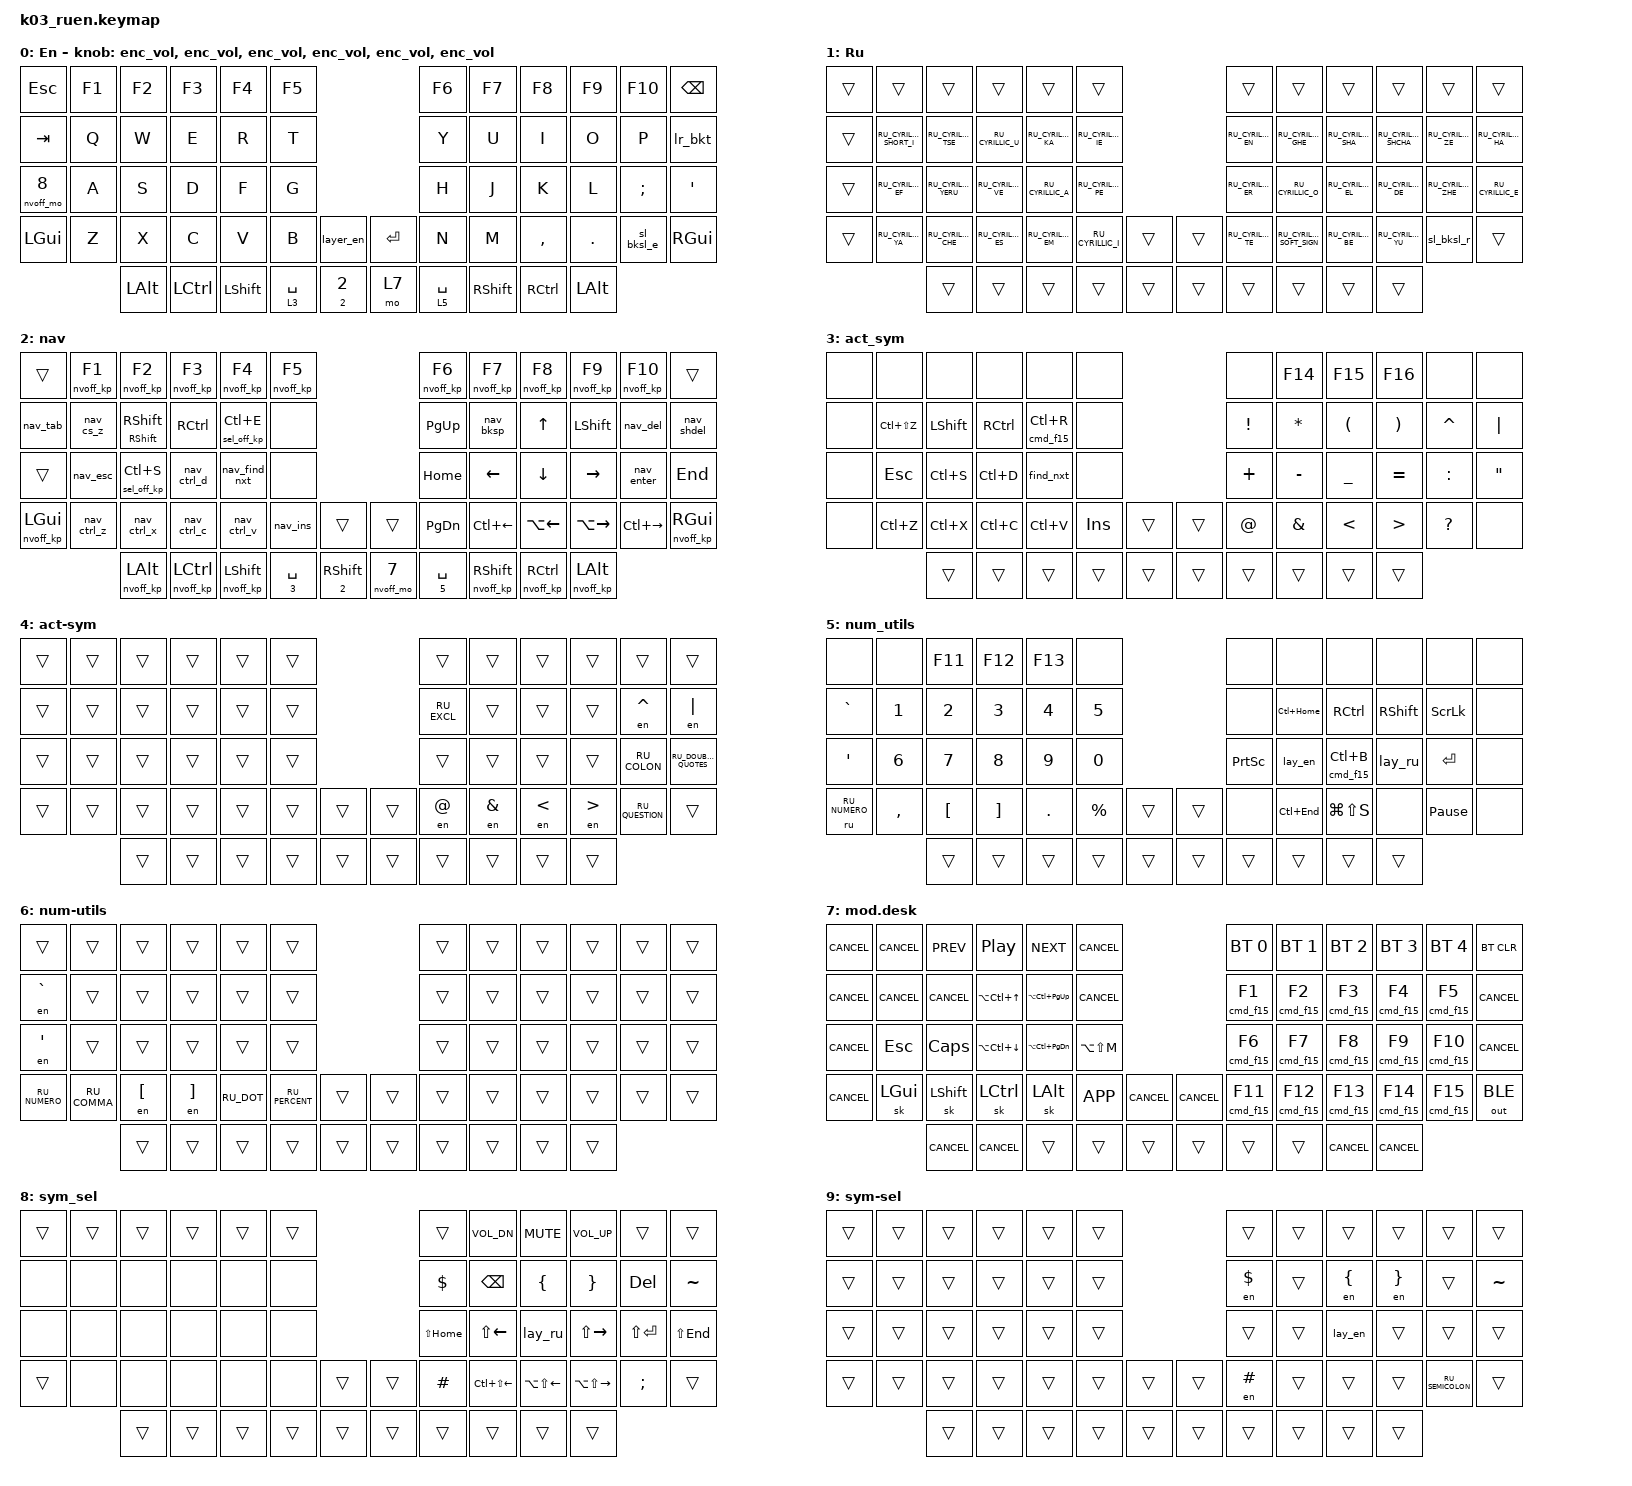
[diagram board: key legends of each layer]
#include "keys_ru.h"
#include <behaviors.dtsi>
#include <dt-bindings/zmk/bt.h>
#include <dt-bindings/zmk/keys.h>
#include <dt-bindings/zmk/outputs.h>

/ {
    combos {
        compatible = "zmk,combos";

        cmb_ru_io {
            bindings = <&kp RU_CYRILLIC_IO>;
            key-positions = <15 16>;
            layers = <1>;
        };

        cmb_ru_hs {
            bindings = <&kp RU_CYRILLIC_HARD_SIGN>;
            key-positions = <20 19>;
            layers = <1>;
        };

        cmb_dot_ru {
            bindings = <&kp RU_DOT>;
            key-positions = <46 47>;
            layers = <1>;
        };

        cmb_dot_en {
            bindings = <&kp DOT>;
            key-positions = <46 47>;
            layers = <0>;
        };
    };

    macros {
        layer_en: layer_en {
            compatible = "zmk,behavior-macro";
            #binding-cells = <0>;
            bindings = <&to 0>, <&macro_tap>, <&kp LS(LC(N1))>;

            wait-ms = <0>;
            tap-ms = <50>;
            label = "LAYER_EN";
        };

        layer_ru: layer_ru {
            compatible = "zmk,behavior-macro";
            #binding-cells = <0>;
            bindings = <&to 1>, <&macro_tap>, <&kp LS(LC(N2))>;

            wait-ms = <0>;
            tap-ms = <50>;
            label = "LAYER_RU";
        };

        lay_en: lay_en {
            compatible = "zmk,behavior-macro";
            #binding-cells = <0>;
            bindings = <&off 1>, <&macro_tap>, <&kp LS(LC(N1))>;

            wait-ms = <0>;
            tap-ms = <38>;
        };

        lay_ru: lay_ru {
            compatible = "zmk,behavior-macro";
            #binding-cells = <0>;
            bindings = <&on 1>, <&macro_tap>, <&kp LS(LC(N2))>;

            wait-ms = <0>;
            tap-ms = <38>;
        };

        en: en {
            compatible = "zmk,behavior-macro-one-param";
            #binding-cells = <1>;
            bindings =
                <&macro_tap>,
                <&kp LS(LC(N1))>,
                <&macro_press>,
                <&macro_param_1to1 &kp MACRO_PLACEHOLDER>,
                <&macro_pause_for_release>,
                <&macro_wait_time 0>,
                <&macro_release>,
                <&macro_param_1to1 &kp MACRO_PLACEHOLDER>,
                <&macro_tap_time 23>,
                <&macro_tap>,
                <&kp LS(LC(N2))>;

            wait-ms = <0>;
            tap-ms = <23>;
        };

        ru: ru {
            compatible = "zmk,behavior-macro-one-param";
            #binding-cells = <1>;
            bindings =
                <&macro_tap>,
                <&kp LS(LC(N2))>,
                <&macro_press>,
                <&macro_param_1to1 &kp MACRO_PLACEHOLDER>,
                <&macro_pause_for_release>,
                <&macro_wait_time 0>,
                <&macro_release>,
                <&macro_param_1to1 &kp MACRO_PLACEHOLDER>,
                <&macro_tap_time 30>,
                <&macro_tap>,
                <&kp LS(LC(N1))>;

            wait-ms = <0>;
            tap-ms = <30>;
        };

        key: key {
            compatible = "zmk,behavior-macro-one-param";
            #binding-cells = <1>;
            bindings = <&macro_tap>, <&macro_param_1to1 &kp MACRO_PLACEHOLDER>;

            wait-ms = <0>;
            tap-ms = <30>;
        };

        cmd_f15: cmd_f15 {
            compatible = "zmk,behavior-macro-one-param";
            #binding-cells = <1>;
            bindings =
                <&macro_press>,
                <&kp LEFT_CONTROL>,
                <&macro_tap>,
                <&kp F15>,
                <&macro_tap>,
                <&macro_param_1to1 &kp MACRO_PLACEHOLDER>,
                <&macro_release>,
                <&kp LEFT_CONTROL>;

            wait-ms = <0>;
            tap-ms = <30>;
        };

        kp_on_off: kp_on_off {
            compatible = "zmk,behavior-macro-one-param";
            #binding-cells = <1>;
            bindings =
                <&macro_param_1to1 &kt_off MACRO_PLACEHOLDER &macro_param_1to1 &kt_on MACRO_PLACEHOLDER>,
                <&macro_pause_for_release>,
                <&macro_wait_time 0>,
                <&macro_press>,
                <&macro_param_1to1 &kt_off MACRO_PLACEHOLDER>;

            label = "KP_ON_OFF";
            wait-ms = <0>;
            tap-ms = <0>;
        };

        sel_off_kp: sel_off_kp {
            compatible = "zmk,behavior-macro-one-param";
            #binding-cells = <1>;
            bindings =
                <&kt_off RSHFT &macro_param_1to1 &kp MACRO_PLACEHOLDER>,
                <&macro_pause_for_release>,
                <&macro_wait_time 0>,
                <&macro_release>,
                <&macro_param_1to1 &kp MACRO_PLACEHOLDER>;

            label = "SEL_OFF_KP";
            wait-ms = <0>;
            tap-ms = <0>;
        };

        sel_off_cmd_f15: sel_off_cmd_f15 {
            compatible = "zmk,behavior-macro-one-param";
            #binding-cells = <1>;
            bindings =
                <&kt_off RSHFT>,
                <&macro_press>,
                <&kp LEFT_CONTROL>,
                <&macro_tap>,
                <&kp F15>,
                <&macro_tap>,
                <&macro_param_1to1 &kp MACRO_PLACEHOLDER>,
                <&macro_release>,
                <&kp LEFT_CONTROL>;

            wait-ms = <0>;
            tap-ms = <30>;
            label = "SEL_OFF_CMD_F15";
        };

        nv_off: nv_off {
            compatible = "zmk,behavior-macro";
            #binding-cells = <0>;
            bindings = <&macro_press>, <&off 2 &kt_off RSHFT>;

            label = "NV_OFF";
            wait-ms = <0>;
            tap-ms = <0>;
        };

        nvoff_kp: nvoff_kp {
            compatible = "zmk,behavior-macro-one-param";
            #binding-cells = <1>;
            bindings =
                <&macro_press>,
                <&off 2 &kt_off RSHFT &macro_param_1to1 &kp MACRO_PLACEHOLDER>,
                <&macro_pause_for_release>,
                <&macro_wait_time 0>,
                <&macro_release>,
                <&macro_param_1to1 &kp MACRO_PLACEHOLDER>;

            label = "NVOFF_KP";
            wait-ms = <0>;
            tap-ms = <0>;
        };

        nvoff_sk: nvoff_sk {
            compatible = "zmk,behavior-macro-one-param";
            #binding-cells = <1>;
            bindings =
                <&macro_press>,
                <&off 2 &kt_off RSHFT &macro_param_1to1 &sk_e MACRO_PLACEHOLDER>,
                <&macro_pause_for_release>,
                <&macro_wait_time 0>,
                <&macro_release>,
                <&macro_param_1to1 &sk_e MACRO_PLACEHOLDER>;

            label = "NVOFF_SK";
            wait-ms = <0>;
            tap-ms = <0>;
        };

        nvoff_mo: nvoff_mo {
            compatible = "zmk,behavior-macro-one-param";
            #binding-cells = <1>;
            bindings =
                <&macro_press>,
                <&off 2 &kt_off RSHFT &macro_param_1to1 &on MACRO_PLACEHOLDER>,
                <&macro_pause_for_release>,
                <&macro_wait_time 0>,
                <&macro_press>,
                <&macro_param_1to1 &off MACRO_PLACEHOLDER>;

            label = "NVOFF_MO";
            wait-ms = <0>;
            tap-ms = <0>;
        };

        nvoff_sl: nvoff_sl {
            compatible = "zmk,behavior-macro-one-param";
            #binding-cells = <1>;
            bindings =
                <&macro_press>,
                <&off 2 &kt_off RSHFT &macro_param_1to1 &sl_e MACRO_PLACEHOLDER>,
                <&macro_pause_for_release>,
                <&macro_wait_time 0>,
                <&macro_release>,
                <&macro_param_1to1 &sl_e MACRO_PLACEHOLDER>;

            label = "NVOFF_SL";
            wait-ms = <0>;
            tap-ms = <0>;
        };

        mo_nv_off: mo_nv_off {
            compatible = "zmk,behavior-macro-one-param";
            #binding-cells = <1>;
            bindings =
                <&macro_tap>,
                <&macro_param_1to1 &on MACRO_PLACEHOLDER>,
                <&macro_pause_for_release>,
                <&macro_wait_time 0>,
                <&macro_tap_time 0>,
                <&macro_tap>,
                <&macro_param_1to1 &off MACRO_PLACEHOLDER &off 2 &kt_off RSHFT>;

            label = "MO_NV_OFF";
            wait-ms = <0>;
            tap-ms = <0>;
        };

        nvon_kp: nvon_kp {
            compatible = "zmk,behavior-macro-one-param";
            #binding-cells = <1>;
            bindings =
                <&macro_press>,
                <&on 2 &macro_param_1to1 &kp MACRO_PLACEHOLDER>,
                <&macro_pause_for_release>,
                <&macro_release>,
                <&macro_param_1to1 &kp MACRO_PLACEHOLDER>;

            label = "NV_ON_KP";
            wait-ms = <0>;
            tap-ms = <0>;
        };

        nvsel_on: nvsel_on {
            compatible = "zmk,behavior-macro-one-param";
            #binding-cells = <1>;
            bindings =
                <&macro_press>,
                <&macro_param_1to1 &kt_off MACRO_PLACEHOLDER &macro_param_1to1 &kt_on MACRO_PLACEHOLDER &on 2>;

            label = "NVSEL_ON";
            wait-ms = <0>;
            tap-ms = <0>;
        };

        nvsel_mo: nvsel_mo {
            compatible = "zmk,behavior-macro";
            #binding-cells = <0>;
            bindings =
                <&macro_press>,
                <&on 2 &off 7 &kt_on RSHFT>,
                <&macro_pause_for_release>,
                <&macro_wait_time 0>,
                <&macro_press>,
                <&kt_off RSHFT &off 2>;

            label = "NVSEL_MO";
            wait-ms = <0>;
            tap-ms = <0>;
        };

        slof_nvsel_mo_rs: slof_nvsel_mo_rs {
            compatible = "zmk,behavior-macro-one-param";
            #binding-cells = <1>;
            bindings =
                <&macro_tap>,
                <&kp K_CANCEL>,
                <&macro_press>,
                <&macro_param_1to1 &on MACRO_PLACEHOLDER &kt_on RSHFT>,
                <&macro_pause_for_release>,
                <&macro_wait_time 0>,
                <&macro_param_1to1 &off MACRO_PLACEHOLDER &kt_off RSHFT>;

            label = "SLOF_NVSEL_MO_RS";
            wait-ms = <0>;
            tap-ms = <0>;
        };

        slof_nv_mo: slof_nv_mo {
            compatible = "zmk,behavior-macro-one-param";
            #binding-cells = <1>;
            bindings =
                <&macro_tap>,
                <&kp K_CANCEL>,
                <&macro_press>,
                <&macro_param_1to1 &on MACRO_PLACEHOLDER>,
                <&macro_pause_for_release>,
                <&macro_wait_time 0>,
                <&macro_press>,
                <&macro_param_1to1 &off MACRO_PLACEHOLDER &kt_off RSHFT>;

            label = "SLOF_NV_MO";
            wait-ms = <0>;
            tap-ms = <0>;
        };

        slof_nvon: slof_nvon {
            compatible = "zmk,behavior-macro-one-param";
            #binding-cells = <1>;
            bindings =
                <&macro_tap>,
                <&kp K_CANCEL>,
                <&macro_press>,
                <&macro_param_1to1 &on MACRO_PLACEHOLDER>;

            label = "SLOF_NVON";
            wait-ms = <0>;
            tap-ms = <0>;
        };

        slof_nvsel_mo: slof_nvsel_mo {
            compatible = "zmk,behavior-macro";
            #binding-cells = <0>;
            bindings =
                <&macro_tap>,
                <&kp K_CANCEL &on 2>,
                <&macro_press>,
                <&kp LSHFT>,
                <&macro_pause_for_release>,
                <&macro_wait_time 0>,
                <&off 2>,
                <&macro_release>,
                <&kp LSHFT>;

            label = "SLOF_NVSEL_MO";
            wait-ms = <0>;
            tap-ms = <0>;
        };

        mo_nv: mo_nv {
            compatible = "zmk,behavior-macro-one-param";
            #binding-cells = <1>;
            bindings =
                <&macro_tap>,
                <&macro_param_1to1 &on MACRO_PLACEHOLDER>,
                <&macro_pause_for_release>,
                <&macro_wait_time 0>,
                <&macro_tap_time 0>,
                <&macro_tap>,
                <&macro_param_1to1 &off MACRO_PLACEHOLDER &kt_off RSHFT>;

            label = "MO_NV";
            wait-ms = <0>;
            tap-ms = <0>;
        };

        on_nv: kp_nv {
            compatible = "zmk,behavior-macro-one-param";
            #binding-cells = <1>;
            bindings =
                <&macro_tap>,
                <&kp K_CANCEL &off 3 &macro_param_1to1 &on MACRO_PLACEHOLDER>;

            label = "KP_NV";
        };

        sl_nv_off: sl_nv_off {
            compatible = "zmk,behavior-macro-one-param";
            #binding-cells = <1>;
            bindings =
                <&macro_press>,
                <&macro_param_1to1 &sl_e MACRO_PLACEHOLDER>,
                <&macro_pause_for_release>,
                <&macro_wait_time 0>,
                <&macro_tap_time 0>,
                <&macro_release>,
                <&macro_param_1to1 &sl_e MACRO_PLACEHOLDER>,
                <&macro_tap>,
                <&kt_off RSHFT>;

            label = "SL_NV_OFF";
            wait-ms = <0>;
            tap-ms = <0>;
        };
    };

    behaviors {
        enc_vol: enc_vol {
            compatible = "zmk,behavior-sensor-rotate";
            #sensor-binding-cells = <0>;
            bindings = <&kp C_VOL_UP>, <&kp C_VOL_DN>;
        };

        on: on {
            compatible = "zmk,behavior-toggle-layer";
            #binding-cells = <1>;
            toggle-mode = "on";
        };

        off: off {
            compatible = "zmk,behavior-toggle-layer";
            #binding-cells = <1>;
            toggle-mode = "off";
        };

        kt_on: kt_on {
            compatible = "zmk,behavior-key-toggle";
            label = "KT_ON";
            #binding-cells = <1>;
            toggle-mode = "on";
        };

        kt_off: kt_off {
            compatible = "zmk,behavior-key-toggle";
            label = "KT_OFF";
            #binding-cells = <1>;
            toggle-mode = "off";
        };

        kt_flip: kt_flip {
            compatible = "zmk,behavior-key-toggle";
            label = "KT_FLIP";
            #binding-cells = <1>;
            toggle-mode = "flip";
        };

        ltk: ltk {
            compatible = "zmk,behavior-hold-tap";
            bindings = <&mo>, <&key>;

            #binding-cells = <2>;
            tapping-term-ms = <235>;
            flavor = "hold-preferred";
        };

        kp_sk: kp_sk {
            compatible = "zmk,behavior-hold-tap";
            bindings = <&kp>, <&sk>;

            #binding-cells = <2>;
            tapping-term-ms = <275>;
            flavor = "hold-preferred";
            label = "KP_SK";
            hold-while-undecided;
            hold-while-undecided-linger;
        };

        kp_kttgl: kp_kttgl {
            compatible = "zmk,behavior-hold-tap";
            bindings = <&kp_on_off>, <&kt_flip>;

            #binding-cells = <2>;
            tapping-term-ms = <275>;
            flavor = "tap-preferred";
            label = "KP_KTTGL";
        };

        mo_sl: mo_sl {
            compatible = "zmk,behavior-hold-tap";
            bindings = <&mo>, <&sl>;

            #binding-cells = <2>;
            tapping-term-ms = <235>;
            label = "MO_SL";
        };

        lr_bkt: lr_bkt {
            compatible = "zmk,behavior-mod-morph";
            label = "LR_BKT";
            bindings = <&kp LEFT_BRACKET>, <&kp RIGHT_BRACKET>;

            #binding-cells = <0>;
            mods = <(MOD_LSFT|MOD_RSFT)>;
        };

        sl_bksl_e: sl_bksl_e {
            compatible = "zmk,behavior-mod-morph";
            label = "SL_BKSL_E";
            bindings = <&kp SLASH>, <&kp BACKSLASH>;

            #binding-cells = <0>;
            mods = <(MOD_LSFT|MOD_RSFT)>;
        };

        sl_bksl_r: sl_bksl_r {
            compatible = "zmk,behavior-mod-morph";
            label = "SL_BKSL_R";
            bindings = <&sl_mod>, <&kp RU_BACKSLASH>;

            #binding-cells = <0>;
            mods = <(MOD_LSFT|MOD_RSFT)>;
        };

        find_nxt: find_nxt {
            compatible = "zmk,behavior-mod-morph";
            label = "FIND_NXT";
            bindings = <&cmd_f15 F>, <&cmd_f15 LS(F)>;

            #binding-cells = <0>;
            mods = <(MOD_RSFT)>;
        };

        nav_tab: nav_tab {
            compatible = "zmk,behavior-mod-morph";
            label = "NAV_TAB";
            bindings = <&kp TAB>, <&sel_off_kp TAB>;

            #binding-cells = <0>;
            mods = <(MOD_RSFT)>;
            keep-mods = <(MOD_LCTL|MOD_LALT|MOD_LGUI|MOD_RCTL|MOD_RALT|MOD_RGUI|MOD_LSFT)>;
        };

        nav_bksp: nav_bksp {
            compatible = "zmk,behavior-mod-morph";
            label = "NAV_BKSP";
            bindings = <&nv_bksp>, <&sel_off_kp BACKSPACE>;

            #binding-cells = <0>;
            mods = <(MOD_RSFT)>;
            keep-mods = <(MOD_LCTL|MOD_LALT|MOD_LGUI|MOD_RCTL|MOD_RALT|MOD_RGUI)>;
        };

        nvsel_nvoff: nvsel_nvoff {
            compatible = "zmk,behavior-hold-tap";
            label = "NVSEL_NVOFF";
            bindings = <&nvsel_mo>, <&nv_off>;

            #binding-cells = <2>;
            flavor = "balanced";
            tapping-term-ms = <235>;
            hold-trigger-key-positions = <6 7 8 9 10 11 18 19 20 21 22 23 30 31 32 33 34 35 44 45 46 47 48 49 56 57 58 59 43 55>;
        };

        nav_esc: nav_esc {
            compatible = "zmk,behavior-mod-morph";
            label = "NAV_ESC";
            bindings = <&kp ESC>, <&sel_off_kp ESC>;

            #binding-cells = <0>;
            mods = <(MOD_RSFT)>;
            keep-mods = <(MOD_LCTL|MOD_LALT|MOD_LGUI|MOD_RSFT|MOD_RCTL|MOD_RALT|MOD_RGUI)>;
        };

        nav_enter: nav_enter {
            compatible = "zmk,behavior-mod-morph";
            label = "NAV_ENTER";
            bindings = <&kp ENTER>, <&sel_off_kp ENTER>;

            #binding-cells = <0>;
            mods = <(MOD_RSFT)>;
            keep-mods = <(MOD_LCTL|MOD_LALT|MOD_LGUI|MOD_RSFT|MOD_RCTL|MOD_RALT|MOD_RGUI)>;
        };

        nav_ctrl_z: nav_ctrl_z {
            compatible = "zmk,behavior-mod-morph";
            label = "NAV_CTRL_Z";
            bindings = <&kp LC(Z)>, <&sel_off_kp LC(Z)>;

            #binding-cells = <0>;
            mods = <(MOD_RSFT)>;
            keep-mods = <(MOD_RSFT)>;
        };

        nav_ctrl_x: nav_ctrl_x {
            compatible = "zmk,behavior-mod-morph";
            label = "NAV_CTRL_X";
            bindings = <&sel_off_kp LC(X)>, <&sel_off_kp LA(X)>;

            #binding-cells = <0>;
            mods = <(MOD_LALT|MOD_RALT)>;
            keep-mods = <(MOD_RSFT)>;
        };

        nav_ctrl_c: nav_ctrl_c {
            compatible = "zmk,behavior-mod-morph";
            label = "NAV_CTRL_C";
            bindings = <&sel_off_kp LC(C)>, <&sel_off_kp LA(C)>;

            #binding-cells = <0>;
            mods = <(MOD_RALT|MOD_LALT)>;
            keep-mods = <(MOD_RSFT)>;
        };

        nav_ctrl_v: nav_ctrl_v {
            compatible = "zmk,behavior-mod-morph";
            label = "NAV_CTRL_V";
            bindings = <&sel_off_kp LC(V)>, <&sel_off_kp LA(V)>;

            #binding-cells = <0>;
            mods = <(MOD_RALT|MOD_LALT)>;
            keep-mods = <(MOD_RSFT)>;
        };

        nav_ctrl_d: nav_ctrl_d {
            compatible = "zmk,behavior-mod-morph";
            label = "NAV_CTRL_D";
            bindings = <&kp LC(D)>, <&sel_off_kp LC(D)>;

            #binding-cells = <0>;
            mods = <(MOD_RSFT)>;
            keep-mods = <(MOD_LSFT)>;
        };

        nav_ctrl_s: nav_ctrl_s {
            compatible = "zmk,behavior-mod-morph";
            label = "NAV_CTRL_S";
            bindings = <&sel_off_kp LC(S)>, <&sel_off_kp LC(S)>;

            #binding-cells = <0>;
            mods = <(MOD_RSFT)>;
        };

        nav_del: nav_del {
            compatible = "zmk,behavior-mod-morph";
            label = "NAV_DEL";
            bindings = <&nv_del>, <&sel_off_kp DELETE>;

            #binding-cells = <0>;
            mods = <(MOD_RSFT)>;
            keep-mods = <(MOD_LCTL|MOD_LALT|MOD_LGUI|MOD_RCTL|MOD_RALT|MOD_RGUI)>;
        };

        nav_ins: nav_ins {
            compatible = "zmk,behavior-mod-morph";
            label = "NAV_INS";
            bindings = <&kp INSERT>, <&kp INSERT>;

            #binding-cells = <0>;
            mods = <(MOD_RSFT|MOD_LSFT)>;
        };

        nav_find_nxt: nav_find_nxt {
            compatible = "zmk,behavior-mod-morph";
            label = "NAV_FIND_NXT";
            bindings = <&find_nxt>, <&sel_off_cmd_f15 F>;

            #binding-cells = <0>;
            mods = <(MOD_RSFT)>;
            keep-mods = <(MOD_LSFT)>;
        };

        sl_mod: sl_mod {
            compatible = "zmk,behavior-mod-morph";
            label = "SL_MOD";
            bindings = <&kp RU_SLASH>, <&kp RU_DOT>;

            #binding-cells = <0>;
            mods = <(MOD_RCTL|MOD_LCTL|MOD_LALT|MOD_LGUI|MOD_RALT|MOD_RGUI)>;
            keep-mods = <(MOD_LCTL|MOD_LSFT|MOD_LALT|MOD_LGUI|MOD_RCTL|MOD_RSFT|MOD_RALT|MOD_RGUI)>;
        };

        nvoff_ltk: nvoff_ltk {
            compatible = "zmk,behavior-hold-tap";
            bindings = <&nvoff_mo>, <&nvoff_kp>;

            #binding-cells = <2>;
            tapping-term-ms = <235>;
            flavor = "hold-preferred";
            label = "NVOFF_LTK";
        };

        nav_cs_z: nav_cs_z {
            compatible = "zmk,behavior-mod-morph";
            label = "NAV_CS_Z";
            bindings = <&kp LC(LS(Z))>, <&sel_off_kp LC(LS(Z))>;

            #binding-cells = <0>;
            mods = <(MOD_RSFT)>;
            keep-mods = <(MOD_RSFT)>;
        };

        nv_bksp: nv_bksp {
            compatible = "zmk,behavior-mod-morph";
            label = "NV_BKSP";
            bindings = <&kp BACKSPACE>, <&kp BACKSPACE>;

            #binding-cells = <0>;
            mods = <(MOD_LSFT)>;
            keep-mods = <(MOD_RCTL|MOD_LCTL|MOD_LALT|MOD_RALT|MOD_RGUI|MOD_LGUI)>;
        };

        nv_del: nv_del {
            compatible = "zmk,behavior-mod-morph";
            label = "NV_DEL";
            bindings = <&kp DELETE>, <&kp DELETE>;

            #binding-cells = <0>;
            mods = <(MOD_LSFT)>;
            keep-mods = <(MOD_LCTL|MOD_LALT|MOD_LGUI|MOD_RCTL|MOD_RALT|MOD_RGUI)>;
        };

        slof_mo_on: slof_mo_on {
            compatible = "zmk,behavior-hold-tap";
            label = "SLOF_MO_ON";
            bindings = <&slof_nv_mo>, <&slof_nvon>;

            #binding-cells = <2>;
            flavor = "balanced";
            tapping-term-ms = <235>;
            hold-trigger-key-positions = <6 7 8 9 10 11 18 19 20 21 22 23 30 31 32 33 34 35 44 45 46 47 48 49 56 57 58 59 43 55>;
        };

        nvoff_kp_sk: nvoff_kp_sk {
            compatible = "zmk,behavior-hold-tap";
            bindings = <&nvoff_kp>, <&nvoff_sk>;

            #binding-cells = <2>;
            tapping-term-ms = <275>;
            flavor = "hold-preferred";
            label = "NVOFF_KP_SK";
            hold-while-undecided;
            hold-while-undecided-linger;
        };

        lshft_sk: lshft_sk {
            compatible = "zmk,behavior-mod-morph";
            label = "LSHFT_SK";
            bindings = <&sk_e LSHFT>, <&kp K_CANCEL>;

            #binding-cells = <0>;
            mods = <(MOD_RSFT)>;
        };

        rshft_sk: rshft_sk {
            compatible = "zmk,behavior-mod-morph";
            label = "RSHFT_SK";
            bindings = <&sk_e RSHFT>, <&kp K_CANCEL>;

            #binding-cells = <0>;
            mods = <(MOD_LSFT)>;
        };

        sk_e: sk_e {
            compatible = "zmk,behavior-sticky-key";
            label = "SK_E";
            bindings = <&kp>;
            #binding-cells = <1>;
            release-after-ms = <100>;
            ignore-modifiers;
        };

        sl_e: sl_e {
            compatible = "zmk,behavior-sticky-key";
            label = "SL_E";
            bindings = <&mo>;
            #binding-cells = <1>;
            release-after-ms = <100>;
            quick-release;
        };

        nav_shdel: nav_shdel {
            compatible = "zmk,behavior-mod-morph";
            label = "NAV_SHDEL";
            bindings = <&kp LS(DELETE)>, <&sel_off_kp LS(DELETE)>;

            #binding-cells = <0>;
            mods = <(MOD_RSFT)>;
            keep-mods = <(MOD_LCTL|MOD_LALT|MOD_LGUI|MOD_RCTL|MOD_RALT|MOD_RGUI)>;
        };

        ltk_nv: ltk_nv {
            compatible = "zmk,behavior-hold-tap";
            bindings = <&mo_nv>, <&on>;

            #binding-cells = <2>;
            tapping-term-ms = <235>;
            flavor = "hold-preferred";
            label = "LTK_NV";
        };

        slof_nv_ltk: slof_nv_ltk {
            compatible = "zmk,behavior-hold-tap";
            bindings = <&slof_nv_mo>, <&slof_nvon>;

            #binding-cells = <2>;
            tapping-term-ms = <235>;
            flavor = "hold-preferred";
            label = "SLOF_NV_LTK";
        };

        nvoff_ht: nvoff_ht {
            compatible = "zmk,behavior-hold-tap";
            bindings = <&nvoff_mo>, <&kt_off>;

            #binding-cells = <2>;
            tapping-term-ms = <235>;
            flavor = "hold-preferred";
            label = "NVOFF_HT";
        };
    };

    keymap {
        compatible = "zmk,keymap";

        en {
            display-name = "En";
            bindings = <
&kp ESC      &kp F1  &kp F2        &kp F3            &kp F4     &kp F5                                  &kp F6        &kp F7     &kp F8             &kp F9        &kp F10     &kp BACKSPACE
&kp TAB      &kp Q   &kp W         &kp E             &kp R      &kp T                                   &kp Y         &kp U      &kp I              &kp O         &kp P       &lr_bkt
&nvoff_mo 8  &kp A   &kp S         &kp D             &kp F      &kp G                                   &kp H         &kp J      &kp K              &kp L         &kp SEMI    &kp APOSTROPHE
&kp LGUI     &kp Z   &kp X         &kp C             &kp V      &kp B         &layer_en      &kp ENTER  &kp N         &kp M      &kp COMMA          &kp DOT       &sl_bksl_e  &kp RGUI
                     &kp LEFT_ALT  &kp LEFT_CONTROL  &kp LSHFT  &ltk 3 SPACE  &ltk_nv 2 2    &mo 7      &ltk 5 SPACE  &kp RSHFT  &kp RIGHT_CONTROL  &kp LEFT_ALT
            >;

            sensor-bindings =
                <&enc_vol>,
                <&enc_vol>,
                <&enc_vol>,
                <&enc_vol>,
                <&enc_vol>,
                <&enc_vol>;
        };

        ru {
            display-name = "Ru";
            bindings = <
&trans  &trans                   &trans                &trans              &trans              &trans                                &trans              &trans                     &trans               &trans                 &trans               &trans
&trans  &kp RU_CYRILLIC_SHORT_I  &kp RU_CYRILLIC_TSE   &kp RU_CYRILLIC_U   &kp RU_CYRILLIC_KA  &kp RU_CYRILLIC_IE                    &kp RU_CYRILLIC_EN  &kp RU_CYRILLIC_GHE        &kp RU_CYRILLIC_SHA  &kp RU_CYRILLIC_SHCHA  &kp RU_CYRILLIC_ZE   &kp RU_CYRILLIC_HA
&trans  &kp RU_CYRILLIC_EF       &kp RU_CYRILLIC_YERU  &kp RU_CYRILLIC_VE  &kp RU_CYRILLIC_A   &kp RU_CYRILLIC_PE                    &kp RU_CYRILLIC_ER  &kp RU_CYRILLIC_O          &kp RU_CYRILLIC_EL   &kp RU_CYRILLIC_DE     &kp RU_CYRILLIC_ZHE  &kp RU_CYRILLIC_E
&trans  &kp RU_CYRILLIC_YA       &kp RU_CYRILLIC_CHE   &kp RU_CYRILLIC_ES  &kp RU_CYRILLIC_EM  &kp RU_CYRILLIC_I   &trans    &trans  &kp RU_CYRILLIC_TE  &kp RU_CYRILLIC_SOFT_SIGN  &kp RU_CYRILLIC_BE   &kp RU_CYRILLIC_YU     &sl_bksl_r           &trans
                                 &trans                &trans              &trans              &trans              &trans    &trans  &trans              &trans                     &trans               &trans
            >;
        };

        nav {
            display-name = "nav";
            bindings = <
&trans          &nvoff_kp F1  &nvoff_kp F2           &nvoff_kp F3            &nvoff_kp F4       &nvoff_kp F5                                          &nvoff_kp F6        &nvoff_kp F7     &nvoff_kp F8             &nvoff_kp F9        &nvoff_kp F10  &trans
&nav_tab        &nav_cs_z     &kp_kttgl RSHFT RSHFT  &kp RCTRL               &sel_off_kp LC(E)  &none                                                 &kp PG_UP           &nav_bksp        &kp UP                   &kp LSHFT           &nav_del       &nav_shdel
&trans          &nav_esc      &sel_off_kp LC(S)      &nav_ctrl_d             &nav_find_nxt      &none                                                 &kp HOME            &kp LEFT         &kp DOWN                 &kp RIGHT           &nav_enter     &kp END
&nvoff_kp LGUI  &nav_ctrl_z   &nav_ctrl_x            &nav_ctrl_c             &nav_ctrl_v        &nav_ins            &trans               &trans       &kp PG_DN           &kp LC(LEFT)     &kp LA(LEFT)             &kp LA(RIGHT)       &kp LC(RIGHT)  &nvoff_kp RGUI
                              &nvoff_kp LEFT_ALT     &nvoff_kp LEFT_CONTROL  &nvoff_kp LSHFT    &nvoff_ltk 3 SPACE  &nvoff_ht 2 RSHFT    &nvoff_mo 7  &nvoff_ltk 5 SPACE  &nvoff_kp RSHFT  &nvoff_kp RIGHT_CONTROL  &nvoff_kp LEFT_ALT
            >;
        };

        act-sym-en {
            display-name = "act_sym";
            bindings = <
&none  &none          &none      &none      &none           &none                      &none            &kp F14        &kp F15               &kp F16                &none         &none
&none  &kp LC(LS(Z))  &kp LSHFT  &kp RCTRL  &cmd_f15 LC(R)  &none                      &kp EXCLAMATION  &kp ASTERISK   &kp LEFT_PARENTHESIS  &kp RIGHT_PARENTHESIS  &kp CARET     &kp PIPE
&none  &kp ESC        &kp LC(S)  &kp LC(D)  &find_nxt       &none                      &kp PLUS         &kp MINUS      &kp UNDERSCORE        &kp EQUAL              &kp COLON     &kp DOUBLE_QUOTES
&none  &kp LC(Z)      &kp LC(X)  &kp LC(C)  &kp LC(V)       &kp INS  &trans    &trans  &kp AT           &kp AMPERSAND  &kp LT                &kp GT                 &kp QUESTION  &none
                      &trans     &trans     &trans          &trans   &trans    &trans  &trans           &trans         &trans                &trans
            >;
        };

        act-sym-ru {
            display-name = "act-sym";
            bindings = <
&trans  &trans  &trans  &trans  &trans  &trans                    &trans       &trans         &trans  &trans  &trans           &trans
&trans  &trans  &trans  &trans  &trans  &trans                    &kp RU_EXCL  &trans         &trans  &trans  &en CARET        &en PIPE
&trans  &trans  &trans  &trans  &trans  &trans                    &trans       &trans         &trans  &trans  &kp RU_COLON     &kp RU_DOUBLE_QUOTES
&trans  &trans  &trans  &trans  &trans  &trans  &trans    &trans  &en AT       &en AMPERSAND  &en LT  &en GT  &kp RU_QUESTION  &trans
                &trans  &trans  &trans  &trans  &trans    &trans  &trans       &trans         &trans  &trans
            >;
        };

        num-utils-en {
            display-name = "num_utils";
            bindings = <
&none           &none      &kp F11           &kp F12            &kp F13  &none                          &none            &none         &none              &none      &none            &none
&kp GRAVE       &kp N1     &kp N2            &kp N3             &kp N4   &kp N5                         &none            &kp LC(HOME)  &kp RIGHT_CONTROL  &kp RSHFT  &kp SCROLLLOCK   &none
&kp APOSTROPHE  &kp N6     &kp N7            &kp N8             &kp N9   &kp N0                         &kp PRINTSCREEN  &lay_en       &cmd_f15 LC(B)     &lay_ru    &kp ENTER        &none
&ru RU_NUMERO   &kp COMMA  &kp LEFT_BRACKET  &kp RIGHT_BRACKET  &kp DOT  &kp PERCENT  &trans    &trans  &none            &kp LC(END)   &kp LG(LS(S))      &none      &kp PAUSE_BREAK  &none
                           &trans            &trans             &trans   &trans       &trans    &trans  &trans           &trans        &trans             &trans
            >;
        };

        num-utils-ru {
            display-name = "num-utils";
            bindings = <
&trans          &trans        &trans            &trans             &trans      &trans                            &trans  &trans  &trans  &trans  &trans  &trans
&en GRAVE       &trans        &trans            &trans             &trans      &trans                            &trans  &trans  &trans  &trans  &trans  &trans
&en APOSTROPHE  &trans        &trans            &trans             &trans      &trans                            &trans  &trans  &trans  &trans  &trans  &trans
&kp RU_NUMERO   &kp RU_COMMA  &en LEFT_BRACKET  &en RIGHT_BRACKET  &kp RU_DOT  &kp RU_PERCENT  &trans    &trans  &trans  &trans  &trans  &trans  &trans  &trans
                              &trans            &trans             &trans      &trans          &trans    &trans  &trans  &trans  &trans  &trans
            >;
        };

        mod-desk {
            display-name = "mod.desk";
            bindings = <
&kp K_CANCEL  &kp K_CANCEL  &kp C_PREV    &kp C_PP          &kp C_NEXT         &kp K_CANCEL                                 &bt BT_SEL 0  &bt BT_SEL 1  &bt BT_SEL 2  &bt BT_SEL 3  &bt BT_SEL 4  &bt BT_CLR
&kp K_CANCEL  &kp K_CANCEL  &kp K_CANCEL  &kp LA(LC(UP))    &kp LA(LC(PG_UP))  &kp K_CANCEL                                 &cmd_f15 F1   &cmd_f15 F2   &cmd_f15 F3   &cmd_f15 F4   &cmd_f15 F5   &kp K_CANCEL
&kp K_CANCEL  &kp ESC       &kp CAPS      &kp LA(LC(DOWN))  &kp LA(LC(PG_DN))  &kp LA(LS(M))                                &cmd_f15 F6   &cmd_f15 F7   &cmd_f15 F8   &cmd_f15 F9   &cmd_f15 F10  &kp K_CANCEL
&kp K_CANCEL  &sk LGUI      &sk LSHFT     &sk LCTRL         &sk LALT           &kp K_APP      &kp K_CANCEL    &kp K_CANCEL  &cmd_f15 F11  &cmd_f15 F12  &cmd_f15 F13  &cmd_f15 F14  &cmd_f15 F15  &out OUT_BLE
                            &kp K_CANCEL  &kp K_CANCEL      &trans             &trans         &trans          &trans        &trans        &trans        &kp K_CANCEL  &kp K_CANCEL
            >;
        };

        sym-sel-en {
            display-name = "sym_sel";
            bindings = <
&trans  &trans  &trans  &trans  &trans  &trans                    &trans        &kp C_VOL_DN      &kp C_MUTE        &kp C_VOL_UP       &trans         &trans
&none   &none   &none   &none   &none   &none                     &kp DOLLAR    &kp BACKSPACE     &kp LEFT_BRACE    &kp RIGHT_BRACE    &kp DELETE     &kp TILDE
&none   &none   &none   &none   &none   &none                     &kp LS(HOME)  &kp LS(LEFT)      &lay_ru           &kp LS(RIGHT)      &kp LS(ENTER)  &kp LS(END)
&trans  &none   &none   &none   &none   &none   &trans    &trans  &kp HASH      &kp LC(LS(LEFT))  &kp LA(LS(LEFT))  &kp LA(LS(RIGHT))  &kp SEMICOLON  &trans
                &trans  &trans  &trans  &trans  &trans    &trans  &trans        &trans            &trans            &trans
            >;
        };

        sym-sel-ru {
            display-name = "sym-sel";
            bindings = <
&trans  &trans  &trans  &trans  &trans  &trans                    &trans      &trans  &trans          &trans           &trans            &trans
&trans  &trans  &trans  &trans  &trans  &trans                    &en DOLLAR  &trans  &en LEFT_BRACE  &en RIGHT_BRACE  &trans            &kp TILDE
&trans  &trans  &trans  &trans  &trans  &trans                    &trans      &trans  &lay_en         &trans           &trans            &trans
&trans  &trans  &trans  &trans  &trans  &trans  &trans    &trans  &en HASH    &trans  &trans          &trans           &kp RU_SEMICOLON  &trans
                &trans  &trans  &trans  &trans  &trans    &trans  &trans      &trans  &trans          &trans
            >;
        };
    };

    conditional_layers {
        compatible = "zmk,conditional-layers";

        num-utils {
            if-layers = <5 1>;
            then-layer = <6>;
        };

        act-sym {
            if-layers = <3 1>;
            then-layer = <4>;
        };

        sym-sel {
            if-layers = <8 1>;
            then-layer = <9>;
        };
    };
};
